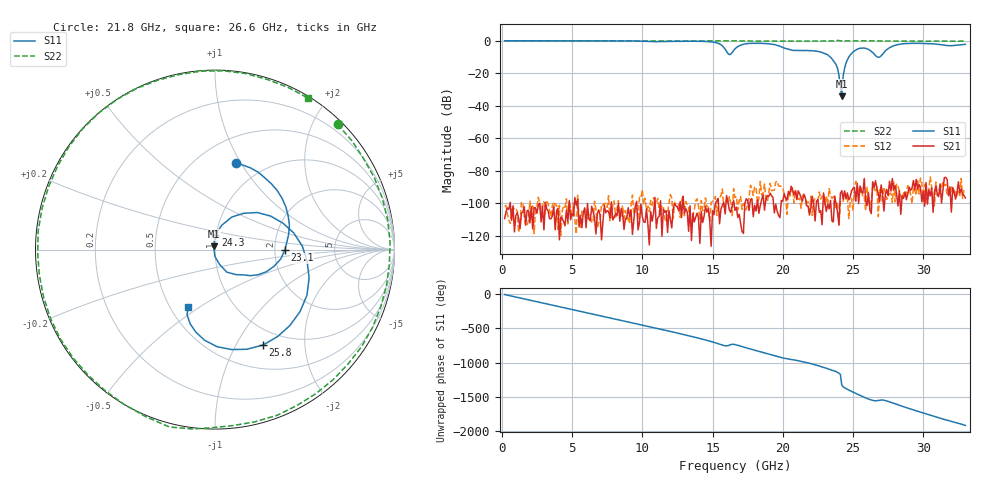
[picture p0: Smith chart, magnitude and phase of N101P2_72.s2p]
# GHZ S RI R 50
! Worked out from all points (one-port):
!   329 points, 200 MHz to 33 GHz, reference 50 ohm
!   lowest |S11| = -34.2 dB at 24.2 GHz (marker M1), VSWR 1.04, Z = 49.2 + j1.75 ohm
!   |S11| at or under -10 dB: 23.38 GHz to 24.71 GHz (1.321 GHz wide, 5.5 % of centre); 26.75 GHz to 26.89 GHz (143.6 MHz wide, 0.535 % of centre)
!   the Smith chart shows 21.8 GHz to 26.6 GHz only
!   S11 on the Smith chart (normalised r, x): 21.8 GHz: 0.75, +0.96; 23.1 GHz: 2.27, -0.02; 24.3 GHz: 0.99, +0.16; 25.8 GHz: 0.79, -1.30; 26.6 GHz: 0.62, -0.45
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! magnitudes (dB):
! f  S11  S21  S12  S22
! 200 MHz  0.0  -109.3  -101.8  0.0
! 5.7 GHz  0.0  -114.9  -104.7  0.0
! 11.2 GHz  -0.6  -107.9  -103.6  -0.1
! 15.1 GHz  -0.9  -106.9  -97.4  0.0
! 15.7 GHz  -3.1  -101.0  -91.1  0.0
! 16.2 GHz  -8.6  -104.1  -95.8  -0.1
! 16.6 GHz  -5.0  -104.2  -96.4  -0.1
! 18.4 GHz  -1.6  -101.2  -86.4  -0.2
! 21.8 GHz  -6.1  -101.5  -99.1  -0.2
! 22.1 GHz  -6.1  -95.6  -107.4  -0.2
! 23.1 GHz  -8.2  -104.9  -95.2  -0.2
! 23.9 GHz  -17.0  -105.7  -99.1  0.2
! 24.2 GHz  -34.2  -92.2  -97.9  0.0
! 24.3 GHz  -21.7  -97.4  -98.7  0.0
! 24.5 GHz  -13.8  -97.2  -94.9  0.0
! 24.8 GHz  -8.8  -95.8  -98.8  -0.1
! 25.8 GHz  -4.5  -84.7  -96.0  0.0
! 26.6 GHz  -9.1  -86.0  -93.1  -0.1
! 26.9 GHz  -10.0  -98.9  -91.8  -0.1
! 27.6 GHz  -4.3  -86.3  -93.8  -0.2
! 29 GHz  -1.6  -90.0  -91.6  -0.3
! 33 GHz  -2.2  -96.5  -91.4  -0.2
